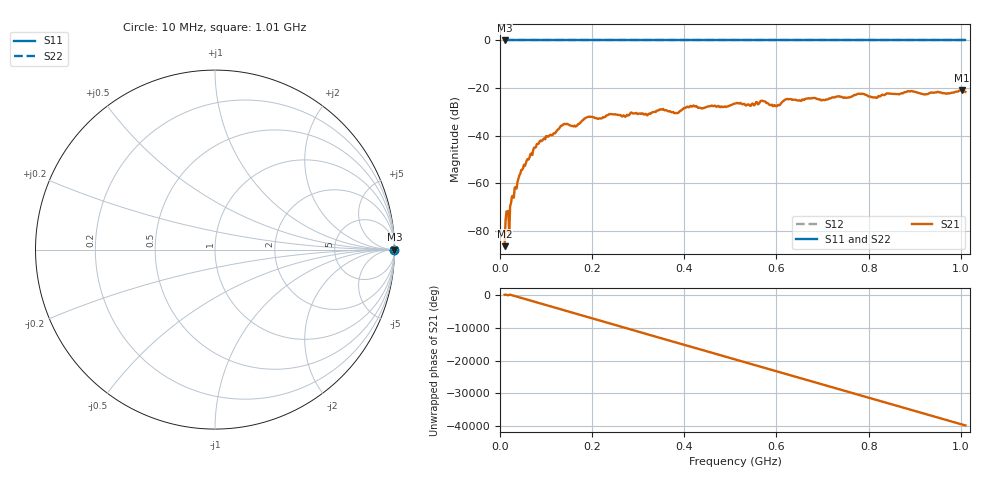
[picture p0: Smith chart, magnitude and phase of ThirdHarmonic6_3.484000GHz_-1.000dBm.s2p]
! 8/17/2025 11:20:21 AM
! C:\ANRITSUVNA\TEMP\TEMP.S2P
! CHANNEL.1
! TR.MEASUREMENT
! RAW.DATA
! RF.CORRECTION.OFF
! AVERAGING.OFF
! IF.BANDWIDTH: 5KHZ
! SWEEPTYPE:  FREQ.SWEEP(Linear)
! Reference Plane Port Info
! PORT:  PORT1  PORT2
! DISTANCE:  0  m  0  m
! TIME:  0  s  0  s
! PHASE.OFFSET:  0  deg.  0  deg.
! LOSS:  0  dB  0  dB
! REF.LOSS:  0  dB  0  dB
! REF.FREQ:  0  Hz  0  Hz
! Power Info
! POWER:  -20  dBm  -20  dBm
! EFF.POWER:  -20  dBm  -20  dBm
! SOURCE.ATTEN:  0  dB  0  dB
! TEST.ATTEN:  0  dB  0  dB
# GHZ S RI R 50.0
! FREQ.GHZ  S11RE  S11IM  S21RE  S21IM  S12RE  S12IM  S22RE  S22IM
!; PortSelection: Port_12
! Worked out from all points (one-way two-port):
!   501 points, 10 MHz to 1.01 GHz, reference 50 ohm
!   highest |S21| = -20.97 dB at 1.002 GHz (marker M1); lowest = -86.5 dB at 10 MHz (marker M2)
!   lowest |S11| = 0.0 dB at 10 MHz (marker M3)
!   |S11| at or under -10 dB: nowhere
!   |S22| runs from 0.0 to 0.0 dB; largest |S21 - S12| = 1.1
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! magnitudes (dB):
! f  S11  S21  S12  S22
! 10 MHz  0.0  -86.5  0.0  0.0
! 44 MHz  0.0  -56.1  0.0  0.0
! 78 MHz  0.0  -44.8  0.0  0.0
! 136 MHz  0.0  -35.6  0.0  0.0
! 164 MHz  0.0  -36.2  0.0  0.0
! 178 MHz  0.0  -33.7  0.0  0.0
! 192 MHz  0.0  -32.1  0.0  0.0
! 322 MHz  0.0  -31.0  0.0  0.0
! 344 MHz  0.0  -29.4  0.0  0.0
! 382 MHz  0.0  -30.5  0.0  0.0
! 416 MHz  0.0  -27.8  0.0  0.0
! 510 MHz  0.0  -26.5  0.0  0.0
! 570 MHz  0.0  -25.4  0.0  0.0
! 596 MHz  0.0  -27.2  0.0  0.0
! 622 MHz  0.0  -24.7  0.0  0.0
! 678 MHz  0.0  -24.3  0.0  0.0
! 702 MHz  0.0  -25.0  0.0  0.0
! 782 MHz  0.0  -22.4  0.0  0.0
! 814 MHz  0.0  -23.9  0.0  0.0
! 844 MHz  0.0  -22.4  0.0  0.0
! 1.002 GHz  0.0  -21.0  0.0  0.0
! 1.01 GHz  0.0  -21.6  0.0  0.0
